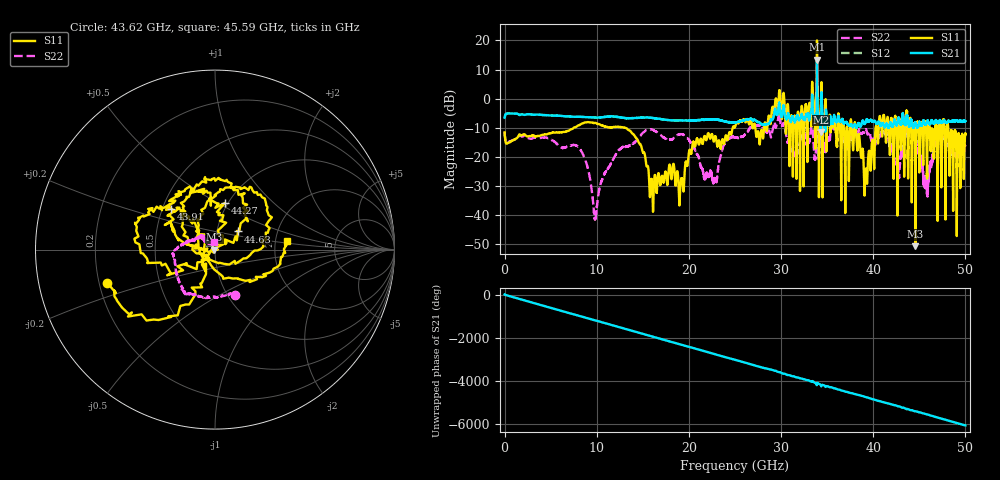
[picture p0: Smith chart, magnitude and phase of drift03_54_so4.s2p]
!Created with skrf (http://scikit-rf.org).
# Hz S RI R 50.0
!freq ReS11 ImS11 ReS21 ImS21 ReS12 ImS12 ReS22 ImS22
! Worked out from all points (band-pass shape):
!   10001 points, 300 kHz to 50 GHz, reference 50 ohm
!   highest |S21| = 13.41 dB at 33.9 GHz (marker M1); lowest = -11.4 dB at 34.32 GHz (marker M2)
!   |S21| within 3 dB of the highest: 33.89012 GHz to 33.90474 GHz (14.62 MHz wide, 0.0431 % of centre)
!   lowest |S11| = -50.6 dB at 44.58 GHz (marker M3), VSWR 1.01, Z = 49.7 - j0.0641 ohm
!   |S11| at or under -10 dB: start of sweep to 7.488 GHz; 13.13 GHz to 24.74 GHz (11.61 GHz wide, 61.3 % of centre); 38.09 GHz to 40.25 GHz (2.164 GHz wide, 5.52 % of centre) (the widest 3 of 52)
!   |S22| runs from -41.5 to 5.8 dB; largest |S21 - S12| = 0.36
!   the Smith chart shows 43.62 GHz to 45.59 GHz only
!   S11 on the Smith chart (normalised r, x): 43.62 GHz: 0.23, -0.14; 43.91 GHz: 0.56, +0.29; 44.27 GHz: 0.97, +0.54; 44.63 GHz: 1.26, +0.26; 45.59 GHz: 2.32, +0.26
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300000  -0.2355 -0.1204  0.466 0.0788  0.4654 0.0795  -0.2349 -0.1255
1.440291e9  0.21 0.0647  -0.5478 -0.0297  -0.5479 -0.029  0.2115 -0.00405
2.915283e9  -0.2123 -0.088  0.5344 0.0517  0.5349 0.0516  -0.2021 0.04
4.415274e9  0.2057 0.132  -0.5216 -0.0418  -0.5219 -0.0424  0.1985 -0.0871
8.33525e9  0.2887 -0.2334  0.1462 0.4661  0.1462 0.466  -0.0726 -0.1014
9.840241e9  -0.3646 0.1252  -0.1432 -0.4536  -0.1435 -0.4538  0.00861 0.00229
1.66702e10  0.0274 0.0436  -0.3781 0.2533  -0.3783 0.2532  -0.1278 -0.2198
2.500015e10  -0.3255 -0.0153  -0.2541 -0.2959  -0.254 -0.2986  -0.2124 0.0288
2.895513e10  -0.3259 0.431  -0.2877 0.3252  -0.2989 0.2902  0.0644 0.2217
3.006512e10  0.3992 0.2656  0.4503 -0.1963  0.4538 -0.1821  0.1748 -0.297
3.171011e10  -0.0923 0.1881  -0.3625 0.357  -0.3597 0.3561  0.0663 0.1579
3.33351e10  0.6197 -0.7949  0.2581 -0.8334  0.2564 -0.8217  -0.1902 -0.4222
3.38951e10  -2.305 -9.746  -4.625 0.7333  -4.321 0.9299  0.4818 1.899
3.432009e10  -0.7769 -0.000741  -0.181 0.199  -0.2434 0.179  0.1439 -0.0732
4.167005e10  -0.2016 0.3054  0.3135 0.00282  0.3151 0.00904  -0.1897 -0.0104
4.362004e10  -0.6013 -0.1836  -0.1249 0.4399  -0.1309 0.4464  0.112 -0.2515
4.390504e10  -0.2441 0.2283  0.0475 0.3313  0.0431 0.3314  -0.0624 -0.2671
4.426503e10  0.0555 0.2598  0.2329 0.2432  0.2232 0.2439  -0.2075 -0.1628
4.458003e10  -0.00287 -0.000645  0.3842 0.0499  0.3856 0.0526  -0.234 -0.0106
4.462503e10  0.1283 0.101  0.3656 0.0365  0.3654 0.0365  -0.2211 -0.00114
4.559003e10  0.4018 0.0473  -0.1003 -0.3582  -0.0971 -0.3606  -0.00509 0.042
5e10  -0.1174 -0.2253  0.1425 0.3839  0.1422 0.3835  -0.054 -0.1431
